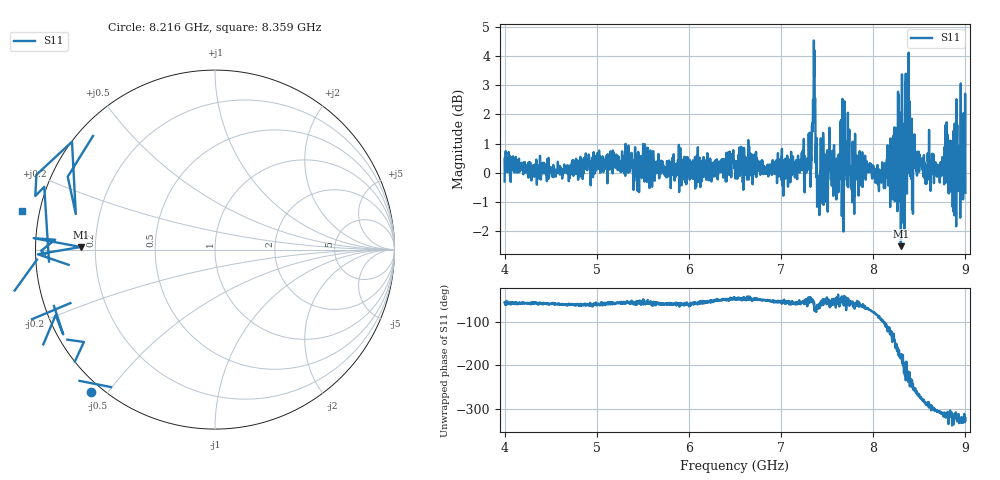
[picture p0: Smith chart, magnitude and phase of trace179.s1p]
! Created with skrf 1.8.0 (http://scikit-rf.org).
# Hz S RI R 50.0
!freq ReS11 ImS11
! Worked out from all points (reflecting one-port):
!   1601 points, 4 GHz to 9 GHz, reference 50 ohm
!   lowest |S11| = -2.5 dB at 8.3 GHz (marker M1), VSWR 6.95, Z = 7.2 + j0.475 ohm
!   phase of S11 starts at -55 deg and turns -266 deg over the sweep
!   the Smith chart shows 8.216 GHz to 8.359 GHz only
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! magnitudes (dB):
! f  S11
! 4 GHz  -0.3
! 4.625 GHz  -0.2
! 5.25 GHz  0.2
! 5.875 GHz  0.1
! 6.5 GHz  0.4
! 7.125 GHz  0.1
! 7.306 GHz  0.2
! 7.356 GHz  4.5
! 7.378 GHz  1.0
! 7.397 GHz  -1.1
! 7.416 GHz  -1.5
! 7.538 GHz  0.5
! 7.616 GHz  -0.1
! 7.65 GHz  1.8
! 7.75 GHz  0.2
! 8.075 GHz  -0.2
! 8.209 GHz  -0.9
! 8.262 GHz  -1.3
! 8.3 GHz  -2.5
! 8.319 GHz  1.7
! 8.334 GHz  0.0
! 8.347 GHz  3.1
! 8.375 GHz  2.1
! 8.447 GHz  1.3
! 8.8 GHz  0.3
! 8.844 GHz  -0.7
! 8.972 GHz  0.8
! 9 GHz  -0.7
